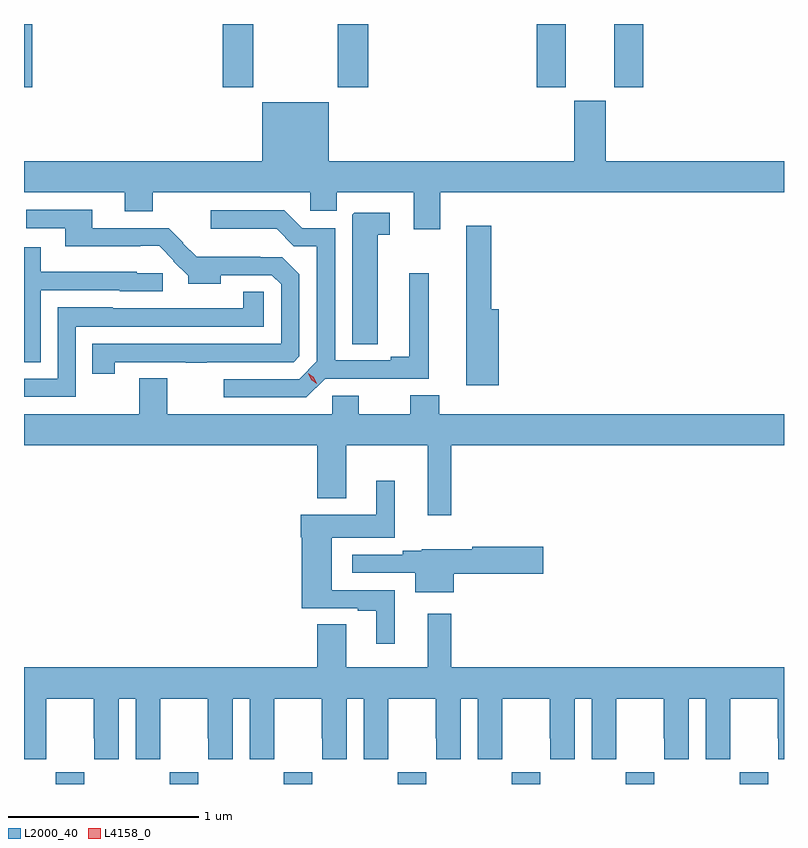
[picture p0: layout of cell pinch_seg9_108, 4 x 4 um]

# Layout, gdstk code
import gdstk
lib = gdstk.Library(unit=1e-6, precision=1e-09)
def R(c, l, rs):  # rectangles x0, y0, x1, y1
    for r in rs: c.add(gdstk.rectangle(r[:2], r[2:], *l))
def A(c, l, x, y, w, h, nx, ny, dx, dy):  # array of equal rectangles
    R(c, l, [(x+i*dx, y+j*dy, x+i*dx+w, y+j*dy+h) for i in range(nx) for j in range(ny)])
def P(c, l, *ps):  # polygons
    for p in ps: c.add(gdstk.Polygon(p, *l))
L2000_40 = (2000, 40)
L4158_0 = (4158, 0)

pinch_seg9_108 = lib.new_cell('pinch_seg9_108')
A(pinch_seg9_108, L2000_40, 1060.269, 1202.63, 0.15, 0.062, 7, 1, 0.6, 0)
R(pinch_seg9_108, L2000_40, [(1060.101,1206.297,1060.145,1206.63), (1061.147,1206.297,1061.307,1206.63), (1061.752,1206.297,1061.912,1206.63), (1062.8,1206.297,1062.952,1206.63), (1063.208,1206.297,1063.361,1206.63)])
P(pinch_seg9_108, L2000_40, [(1062.292,1205.744),(1064.101,1205.744),(1064.101,1205.908),(1063.162,1205.908),(1063.162,1206.225),(1062.998,1206.225),(1062.998,1205.908),(1061.704,1205.908),(1061.704,1206.217),(1061.354,1206.217),(1061.354,1205.908),(1060.101,1205.908),(1060.101,1205.744),(1060.631,1205.744),(1060.631,1205.645),(1060.779,1205.645),(1060.779,1205.744),(1061.607,1205.744),(1061.607,1205.646),(1061.746,1205.646),(1061.746,1205.744),(1062.152,1205.744),(1062.152,1205.55),(1062.292,1205.55)],
  [(1060.578,1204.851),(1060.951,1204.851),(1060.951,1204.846),(1061.063,1204.846),(1061.063,1204.851),(1061.52,1204.851),(1061.55,1204.881),(1061.55,1205.313),(1061.461,1205.402),(1061.345,1205.402),(1061.345,1205.404),(1061.011,1205.404),(1060.937,1205.477),(1060.939,1205.479),(1060.863,1205.556),(1060.459,1205.556),(1060.459,1205.652),(1060.113,1205.652),(1060.113,1205.556),(1060.319,1205.556),(1060.319,1205.459),(1060.712,1205.459),(1060.712,1205.462),(1060.814,1205.462),(1060.89,1205.385),(1060.887,1205.382),(1060.966,1205.304),(1060.966,1205.264),(1061.137,1205.264),(1061.137,1205.307),(1061.406,1205.307),(1061.454,1205.259),(1061.454,1204.947),(1060.459,1204.947),(1060.459,1204.788),(1060.578,1204.788)],
  [(1061.686,1204.764),(1062.232,1204.764),(1062.232,1205.317),(1062.128,1205.317),(1062.128,1204.88),(1062.032,1204.88),(1062.032,1204.86),(1061.739,1204.86),(1061.739,1205.556),(1061.565,1205.556),(1061.472,1205.649),(1061.085,1205.649),(1061.085,1205.552),(1061.431,1205.552),(1061.522,1205.461),(1061.643,1205.461),(1061.643,1204.854),(1061.55,1204.761),(1061.151,1204.761),(1061.151,1204.665),(1061.587,1204.665)],
  [(1061.962,1205.521),(1062.025,1205.521),(1062.025,1205.637),(1061.838,1205.637),(1061.828,1205.627),(1061.828,1204.945),(1061.962,1204.945)],
  [(1062.599,1205.128),(1062.56,1205.128),(1062.56,1205.569),(1062.428,1205.569),(1062.428,1204.73),(1062.599,1204.73)],
  [(1060.188,1205.229),(1060.605,1205.229),(1060.605,1205.223),(1060.83,1205.223),(1060.83,1205.319),(1060.695,1205.319),(1060.695,1205.326),(1060.189,1205.326),(1060.189,1205.455),(1060.101,1205.455),(1060.101,1204.849),(1060.188,1204.849)],
  [(1060.374,1205.037),(1061.364,1205.037),(1061.364,1205.222),(1061.256,1205.222),(1061.256,1205.134),(1061.001,1205.134),(1061.001,1205.133),(1060.569,1205.133),(1060.569,1205.14),(1060.278,1205.14),(1060.278,1204.764),(1060.101,1204.764),(1060.101,1204.668),(1060.374,1204.668)],
  [(1062.349,1204.412),(1064.101,1204.412),(1064.101,1204.576),(1062.287,1204.576),(1062.287,1204.675),(1062.134,1204.675),(1062.134,1204.576),(1061.863,1204.576),(1061.863,1204.674),(1061.724,1204.674),(1061.724,1204.576),(1060.855,1204.576),(1060.855,1204.766),(1060.708,1204.766),(1060.708,1204.576),(1060.101,1204.576),(1060.101,1204.412),(1061.645,1204.412),(1061.645,1204.133),(1061.797,1204.133),(1061.797,1204.412),(1062.227,1204.412),(1062.227,1204.044),(1062.349,1204.044)],
  [(1062.052,1203.651),(1061.722,1203.651),(1061.722,1203.926),(1062.052,1203.926),(1062.052,1204.225),(1061.954,1204.225),(1061.954,1204.048),(1061.558,1204.048),(1061.558,1203.93),(1061.564,1203.93),(1061.564,1203.555),(1061.858,1203.555),(1061.858,1203.543),(1061.954,1203.543),(1061.954,1203.369),(1062.052,1203.369)],
  [(1062.364,1203.736),(1062.835,1203.736),(1062.835,1203.878),(1062.46,1203.878),(1062.46,1203.865),(1062.195,1203.865),(1062.195,1203.857),(1062.095,1203.857),(1062.095,1203.837),(1061.829,1203.837),(1061.829,1203.741),(1062.161,1203.741),(1062.161,1203.638),(1062.364,1203.638)],
  [(1060.218,1202.872),(1060.219,1202.872),(1060.219,1203.08),(1060.469,1203.08),(1060.469,1202.872),(1060.47,1202.872),(1060.47,1202.76),(1060.6,1202.76),(1060.6,1203.08),(1060.688,1203.08),(1060.688,1202.76),(1060.818,1202.76),(1060.818,1202.872),(1060.819,1202.872),(1060.819,1203.08),(1061.069,1203.08),(1061.069,1202.872),(1061.07,1202.872),(1061.07,1202.76),(1061.2,1202.76),(1061.2,1203.08),(1061.288,1203.08),(1061.288,1202.76),(1061.418,1202.76),(1061.418,1202.872),(1061.419,1202.872),(1061.419,1203.08),(1061.669,1203.08),(1061.669,1202.872),(1061.67,1202.872),(1061.67,1202.76),(1061.8,1202.76),(1061.8,1203.08),(1061.888,1203.08),(1061.888,1202.76),(1062.018,1202.76),(1062.018,1202.872),(1062.019,1202.872),(1062.019,1203.08),(1062.269,1203.08),(1062.269,1202.872),(1062.27,1202.872),(1062.27,1202.76),(1062.4,1202.76),(1062.4,1203.08),(1062.488,1203.08),(1062.488,1202.76),(1062.618,1202.76),(1062.618,1202.872),(1062.619,1202.872),(1062.619,1203.08),(1062.869,1203.08),(1062.869,1202.872),(1062.87,1202.872),(1062.87,1202.76),(1063,1202.76),(1063,1203.08),(1063.088,1203.08),(1063.088,1202.76),(1063.218,1202.76),(1063.218,1202.872),(1063.219,1202.872),(1063.219,1203.08),(1063.469,1203.08),(1063.469,1202.872),(1063.47,1202.872),(1063.47,1202.76),(1063.6,1202.76),(1063.6,1203.08),(1063.688,1203.08),(1063.688,1202.76),(1063.818,1202.76),(1063.818,1202.872),(1063.819,1202.872),(1063.819,1203.08),(1064.069,1203.08),(1064.069,1202.872),(1064.07,1202.872),(1064.07,1202.76),(1064.101,1202.76),(1064.101,1203.244),(1062.349,1203.244),(1062.349,1203.526),(1062.227,1203.526),(1062.227,1203.244),(1061.797,1203.244),(1061.797,1203.47),(1061.645,1203.47),(1061.645,1203.244),(1060.101,1203.244),(1060.101,1202.76),(1060.218,1202.76)])
P(pinch_seg9_108, L4158_0, [(1061.643,1204.736),(1061.612,1204.757),(1061.596,1204.79),(1061.596,1204.791),(1061.596,1204.791),(1061.627,1204.77),(1061.643,1204.736),(1061.643,1204.736)])

lib.write_gds('pinch_seg9_108.gds')
